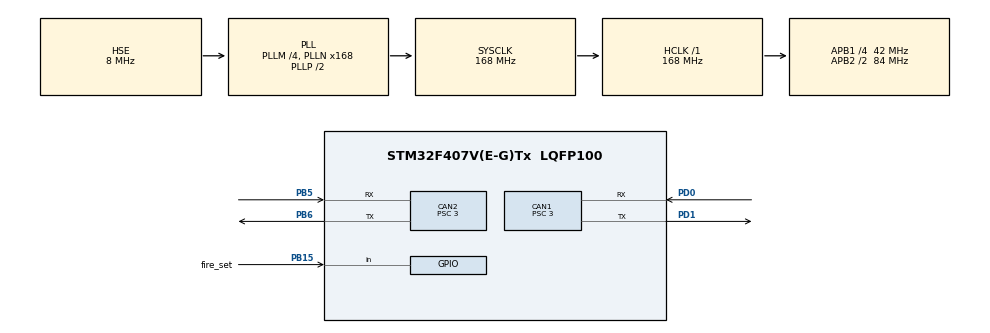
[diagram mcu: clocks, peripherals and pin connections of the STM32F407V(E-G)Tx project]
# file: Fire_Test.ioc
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CAN1.ABOM=ENABLE
CAN1.AWUM=ENABLE
CAN1.BS1=CAN_BS1_10TQ
CAN1.BS2=CAN_BS2_3TQ
CAN1.CalculateBaudRate=1000000
CAN1.CalculateTimeBit=1000
CAN1.CalculateTimeQuantum=71.42857142857143
CAN1.Prescaler=3
CAN2.ABOM=ENABLE
CAN2.AWUM=ENABLE
CAN2.BS1=CAN_BS1_10TQ
CAN2.BS2=CAN_BS2_3TQ
CAN2.CalculateBaudRate=1000000
CAN2.CalculateTimeBit=1000
CAN2.CalculateTimeQuantum=71.42857142857143
CAN2.Prescaler=3
Mcu.Family=STM32F4
Mcu.Name=STM32F407V(E-G)Tx
Mcu.Package=LQFP100
NVIC.CAN1_RX0_IRQn=true\:0\:0\:false\:false\:true\:true\:true\:true
NVIC.CAN2_RX0_IRQn=true\:0\:0\:false\:false\:true\:true\:true\:true
NVIC.PriorityGroup=NVIC_PRIORITYGROUP_4
PA13.Mode=Serial_Wire
PA13.Signal=SYS_JTMS-SWDIO
PA14.Mode=Serial_Wire
PA14.Signal=SYS_JTCK-SWCLK
PB15.GPIO_Label=fire_set
PB15.Signal=GPIO_Input
PB5.Mode=CAN_Activate
PB5.Signal=CAN2_RX
PB6.Mode=CAN_Activate
PB6.Signal=CAN2_TX
PD0.Mode=CAN_Activate
PD0.Signal=CAN1_RX
PD1.Mode=CAN_Activate
PD1.Signal=CAN1_TX
PH0-OSC_IN.Mode=HSE-External-Oscillator
PH0-OSC_IN.Signal=RCC_OSC_IN
PH1-OSC_OUT.Mode=HSE-External-Oscillator
PH1-OSC_OUT.Signal=RCC_OSC_OUT
ProjectManager.HeapSize=0x2000
ProjectManager.StackSize=0x2000
ProjectManager.TargetToolchain=Makefile
RCC.48MHZClocksFreq_Value=84000000
RCC.AHBFreq_Value=168000000
RCC.APB1CLKDivider=RCC_HCLK_DIV4
RCC.APB1Freq_Value=42000000
RCC.APB1TimFreq_Value=84000000
RCC.APB2CLKDivider=RCC_HCLK_DIV2
RCC.APB2Freq_Value=84000000
RCC.APB2TimFreq_Value=168000000
RCC.CortexFreq_Value=168000000
RCC.HCLKFreq_Value=168000000
RCC.HSE_VALUE=8000000
RCC.HSI_VALUE=16000000
RCC.LSE_VALUE=32768
RCC.PLLM=4
RCC.PLLN=168
RCC.PLLSourceVirtual=RCC_PLLSOURCE_HSE
RCC.SYSCLKFreq_VALUE=168000000
RCC.SYSCLKSource=RCC_SYSCLKSOURCE_PLLCLK
RCC.VCOOutputFreq_Value=336000000
board=custom

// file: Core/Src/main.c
/* USER CODE BEGIN Header */
/**
  ******************************************************************************
  * @file           : main.c
  * @brief          : Main program body
  ******************************************************************************
  * @attention
  *
  * Copyright (c) 2024 STMicroelectronics.
  * All rights reserved.
  *
  * This software is licensed under terms that can be found in the LICENSE file
  * in the root directory of this software component.
  * If no LICENSE file comes with this software, it is provided AS-IS.
  *
  ******************************************************************************
  */
/* USER CODE END Header */
#include "main.h"
#include "can.h"
#include "gpio.h"

/* USER CODE BEGIN Includes */
#include "stdlib.h"
#include "string.h"
#include "bsp_can.h"
#include "bsp_Motor_Encoder.h"
#include "DJI_Motor.h"
#include "pid.h"

/* USER CODE END Includes */

void SystemClock_Config(void);

/* USER CODE BEGIN 0 */
typedef struct{
    DJIMotor_object_t*   left_motor;
    DJIMotor_object_t*   right_motor;
    DJIMotor_object_t*   left_motor_up;
    DJIMotor_object_t*   right_motor_up;
}Fire_t;
Fire_t Fire;
int16_t left_speed = 0;
int16_t right_speed = 0;
int16_t left_speed_up = 0;
int16_t right_speed_up = 0;
uint8_t fire_set = 0;

void fire_task_init(void)
{
    memset(&Fire, 0, sizeof(Fire_t));
	  // 获得拨弹指针
    Fire.left_motor_up = DJIMotor_Init(1,4,false,M3508,30);
    Fire.right_motor_up = DJIMotor_Init(1,2,true,M3508,30);
    Fire.left_motor  = DJIMotor_Init(2,1,true,M3508,30);
    Fire.right_motor = DJIMotor_Init(2,3,false,M3508,30);

    Fire.left_motor->Using_PID = Speed_PID;
    Fire.left_motor_up->Using_PID = Speed_PID;
    Fire.right_motor_up->Using_PID = Speed_PID;
    Fire.right_motor->Using_PID = Speed_PID;

    PidInit(&Fire.left_motor->Speed_PID,1.0f,0,0,Output_Limit|StepIn|Integral_Limit);
 	PidInitMode(&Fire.left_motor->Speed_PID,Output_Limit,16000,0);//锟斤拷锟斤拷薹锟侥Ｊ斤拷锟斤拷锟�
    PidInitMode(&Fire.left_motor->Speed_PID,StepIn,10,0);//锟斤拷锟斤拷募蛹锟斤拷倩岬硷拷路锟斤拷锟斤拷锟斤拷锟斤拷锟斤拷锟斤拷锟较碉拷
    PidInitMode(&Fire.left_motor->Speed_PID,Integral_Limit,1000,0);

    PidInit(&Fire.right_motor->Speed_PID,1.0435f,0,0,Output_Limit|StepIn|Integral_Limit);
 	PidInitMode(&Fire.right_motor->Speed_PID,Output_Limit,16000,0);//锟斤拷锟斤拷薹锟侥Ｊ斤拷锟斤拷锟�
    PidInitMode(&Fire.right_motor->Speed_PID,StepIn,10,0);//锟金渐硷拷锟劫ｏ拷实锟解发锟斤拷锟斤拷锟斤拷俣燃锟斤拷倩岬硷拷路锟斤拷锟斤拷锟斤拷锟斤拷锟斤拷锟斤拷锟较碉拷
    PidInitMode(&Fire.left_motor->Speed_PID,Integral_Limit,1000,0);

    PidInit(&Fire.left_motor_up->Speed_PID,1.02f,0,0,Output_Limit|StepIn);
 	PidInitMode(&Fire.left_motor_up->Speed_PID,Output_Limit,16000,0);//锟斤拷锟斤拷薹锟侥Ｊ斤拷锟斤拷锟�
    PidInitMode(&Fire.left_motor_up->Speed_PID,StepIn,10,0);//锟斤拷锟斤拷募蛹锟斤拷倩岬硷拷路锟斤拷锟斤拷锟斤拷锟斤拷锟斤拷锟斤拷锟较碉拷
    PidInit(&Fire.right_motor_up->Speed_PID,1.0f,0,0,Output_Limit|StepIn);
 	PidInitMode(&Fire.right_motor_up->Speed_PID,Output_Limit,16000,0);//锟斤拷锟斤拷薹锟侥Ｊ斤拷锟斤拷锟�
    PidInitMode(&Fire.right_motor_up->Speed_PID,StepIn,10,0);//锟金渐硷拷锟劫ｏ拷实锟解发锟斤拷锟斤拷锟斤拷俣燃锟斤拷倩岬硷拷路锟斤拷锟斤拷锟斤拷锟斤拷锟斤拷锟斤拷锟较碉拷

}

void fire_behaviour_choose(void)
{
    // if (Fire.Gimbal_CMD->Fire_Ready == 0)
    // {
    //     DJIMotor_Set_val(Fire.left_motor_up, 0);
    //     DJIMotor_Set_val(Fire.right_motor_up, 0);
    //     DJIMotor_Set_val(Fire.left_motor, 0);
    //     DJIMotor_Set_val(Fire.right_motor, 0);
    // }
    // else
    // {
    //     DJIMotor_Set_val(Fire.left_motor_up, Fire.Gimbal_CMD->Fire_Set_Rpm);
    //     DJIMotor_Set_val(Fire.right_motor_up,Fire.Gimbal_CMD->Fire_Set_Rpm);
    //     DJIMotor_Set_val(Fire.left_motor,    Fire.Gimbal_CMD->Fire_Set_Rpm);
    //     DJIMotor_Set_val(Fire.right_motor,   Fire.Gimbal_CMD->Fire_Set_Rpm);
    // }
    fire_set = HAL_GPIO_ReadPin(fire_set_GPIO_Port, fire_set_Pin);
    if(fire_set == 1)
    {
      DJIMotor_Set_val(Fire.left_motor, 0);
      DJIMotor_Set_val(Fire.right_motor, 0);
      DJIMotor_Set_val(Fire.left_motor_up, 0);
      DJIMotor_Set_val(Fire.right_motor_up, 0);
    }
    else
    {
      DJIMotor_Set_val(Fire.left_motor, 4800);
      DJIMotor_Set_val(Fire.right_motor, 4800);
      DJIMotor_Set_val(Fire.left_motor_up, 4800);
      DJIMotor_Set_val(Fire.right_motor_up, 4800);
    }

}

void fire_pid_calculate(void)
{
    Fire.left_motor->current_input = motor_speed_control(&Fire.left_motor->Speed_PID,
                                                          Fire.left_motor->set_speed,
                                                          Fire.left_motor->Motor_Information.speed);
    Fire.right_motor->current_input = motor_speed_control(&Fire.right_motor->Speed_PID,
                                                          Fire.right_motor->set_speed,
                                                          Fire.right_motor->Motor_Information.speed);
    Fire.left_motor_up->current_input = motor_speed_control(&Fire.left_motor_up->Speed_PID,
                                                          Fire.left_motor_up->set_speed,
                                                          Fire.left_motor_up->Motor_Information.speed);
    Fire.right_motor_up->current_input = motor_speed_control(&Fire.right_motor_up->Speed_PID,
                                                          Fire.right_motor_up->set_speed,
                                                          Fire.right_motor_up->Motor_Information.speed);
}

/* USER CODE END 0 */

int main(void)
{

  /* MCU Configuration--------------------------------------------------------*/

  /* Reset of all peripherals, Initializes the Flash interface and the Systick. */
  HAL_Init();

  /* Configure the system clock */
  SystemClock_Config();

  /* Initialize all configured peripherals */
  MX_GPIO_Init();
  MX_CAN1_Init();
  MX_CAN2_Init();
  /* USER CODE BEGIN 2 */
  ECF_CAN_Init();
  //DWT_Init(168);
  fire_task_init();
  /* USER CODE END 2 */

  /* Infinite loop */
  /* USER CODE BEGIN WHILE */
  while (1)
  {
    left_speed = -Fire.left_motor->Motor_Information.speed;
    right_speed = Fire.right_motor->Motor_Information.speed;
    left_speed_up = Fire.left_motor_up->Motor_Information.speed;
    right_speed_up = -Fire.right_motor_up->Motor_Information.speed;
    fire_behaviour_choose();
		fire_pid_calculate();
    DJIMotor_Send(Fire.left_motor);
    DJIMotor_Send(Fire.left_motor_up);
    // DJMotor_Send_only_one(Fire.left_motor);
    // DJMotor_Send_only_one(Fire.right_motor);
    HAL_Delay(1);
    /* USER CODE END WHILE */

  }
}

void SystemClock_Config(void)
{
  RCC_OscInitTypeDef RCC_OscInitStruct = {0};
  RCC_ClkInitTypeDef RCC_ClkInitStruct = {0};

  /** Configure the main internal regulator output voltage
  */
  __HAL_RCC_PWR_CLK_ENABLE();
  __HAL_PWR_VOLTAGESCALING_CONFIG(PWR_REGULATOR_VOLTAGE_SCALE1);

  /** Initializes the RCC Oscillators according to the specified parameters
  * in the RCC_OscInitTypeDef structure.
  */
  RCC_OscInitStruct.OscillatorType = RCC_OSCILLATORTYPE_HSE;
  RCC_OscInitStruct.HSEState = RCC_HSE_ON;
  RCC_OscInitStruct.PLL.PLLState = RCC_PLL_ON;
  RCC_OscInitStruct.PLL.PLLSource = RCC_PLLSOURCE_HSE;
  RCC_OscInitStruct.PLL.PLLM = 4;
  RCC_OscInitStruct.PLL.PLLN = 168;
  RCC_OscInitStruct.PLL.PLLP = RCC_PLLP_DIV2;
  RCC_OscInitStruct.PLL.PLLQ = 4;
  if (HAL_RCC_OscConfig(&RCC_OscInitStruct) != HAL_OK)
  {
    Error_Handler();
  }

  /** Initializes the CPU, AHB and APB buses clocks
  */
  RCC_ClkInitStruct.ClockType = RCC_CLOCKTYPE_HCLK|RCC_CLOCKTYPE_SYSCLK
                              |RCC_CLOCKTYPE_PCLK1|RCC_CLOCKTYPE_PCLK2;
  RCC_ClkInitStruct.SYSCLKSource = RCC_SYSCLKSOURCE_PLLCLK;
  RCC_ClkInitStruct.AHBCLKDivider = RCC_SYSCLK_DIV1;
  RCC_ClkInitStruct.APB1CLKDivider = RCC_HCLK_DIV4;
  RCC_ClkInitStruct.APB2CLKDivider = RCC_HCLK_DIV2;

  if (HAL_RCC_ClockConfig(&RCC_ClkInitStruct, FLASH_LATENCY_5) != HAL_OK)
  {
    Error_Handler();
  }
}

void Error_Handler(void)
{
  __disable_irq();
  while (1)
  {
  }
}
